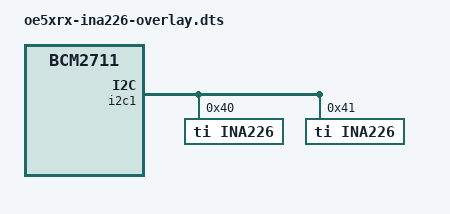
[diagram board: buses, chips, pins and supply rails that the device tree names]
// OE5XRX PowerBoard power monitors: two TI INA226 on the CM4's i2c1
// (GPIO2/3, `dtparam=i2c_arm=on`). The bus is CM4 <-> PowerBoard only.
//   0x40  +5V rail
//   0x41  +12V rail
// Both use a 10 mOhm shunt (shunt-resistor is in micro-ohms). The ALERT pins
// are not wired, so no interrupts. The ina2xx hwmon driver binds via the
// compatible; the station-agent finds the sensors by device path
// (/sys/bus/i2c/devices/1-0040|1-0041/hwmon/hwmon*/), never by hwmonN.
// Without a PowerBoard the probe just fails (logged), boot is unaffected.
//
// Installed into the A/B slot rootfs as /boot/overlays/oe5xrx-ina226.dtbo and
// applied by U-Boot boot stage 2 (u-boot-ab/files/boot-stage2.cmd.in) to a copy
// of the firmware DTB — NOT via config.txt, so changes arrive by OTA. Listed in
// OE5XRX_DT_OVERLAYS (conf/oe5xrx-boot.inc). &i2c1 resolves against the
// firmware DTB's __symbols__ (built with dtc -@).

/dts-v1/;
/plugin/;

/ {
	compatible = "brcm,bcm2711";

	fragment@0 {
		target = <&i2c1>;
		__overlay__ {
			#address-cells = <1>;
			#size-cells = <0>;
			status = "okay";

			ina226@40 {
				compatible = "ti,ina226";
				reg = <0x40>;
				shunt-resistor = <10000>;
			};

			ina226@41 {
				compatible = "ti,ina226";
				reg = <0x41>;
				shunt-resistor = <10000>;
			};
		};
	};
};
